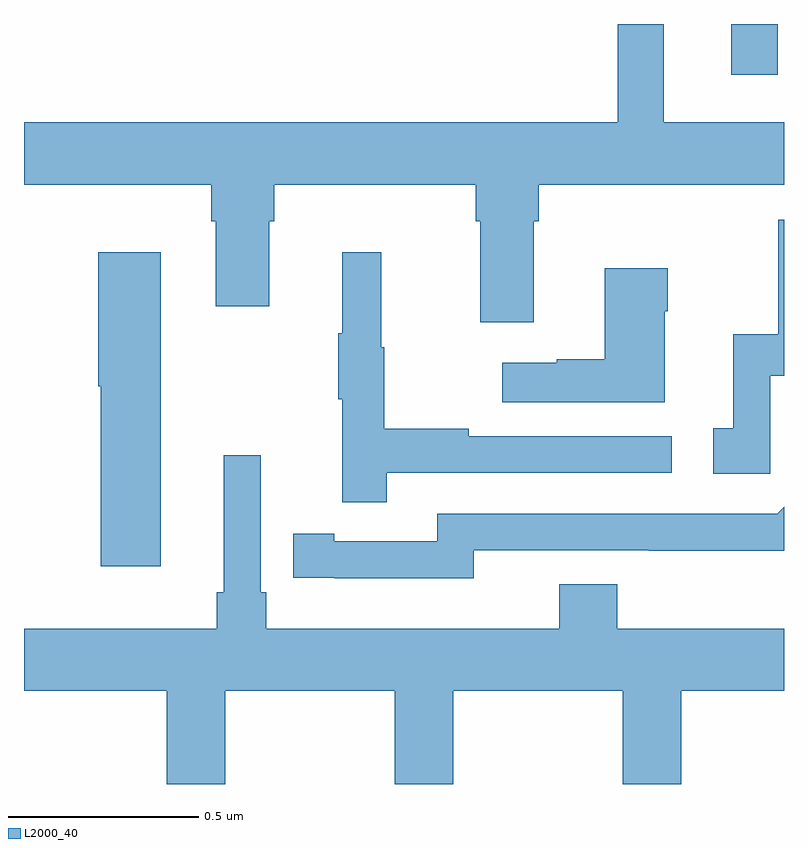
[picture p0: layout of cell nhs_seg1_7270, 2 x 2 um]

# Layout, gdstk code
import gdstk
lib = gdstk.Library(unit=1e-6, precision=1e-09)
def R(c, l, rs):  # rectangles x0, y0, x1, y1
    for r in rs: c.add(gdstk.rectangle(r[:2], r[2:], *l))
def P(c, l, *ps):  # polygons
    for p in ps: c.add(gdstk.Polygon(p, *l))
L2000_40 = (2000, 40)

nhs_seg1_7270 = lib.new_cell('nhs_seg1_7270')
R(nhs_seg1_7270, L2000_40, [(203.861,508.065,203.983,508.199)])
P(nhs_seg1_7270, L2000_40, [(202,507.776),(202.493,507.776),(202.493,507.68),(202.505,507.68),(202.505,507.456),(202.645,507.456),(202.645,507.68),(202.658,507.68),(202.658,507.776),(203.189,507.776),(203.189,507.68),(203.201,507.68),(203.201,507.414),(203.341,507.414),(203.341,507.68),(203.354,507.68),(203.354,507.776),(204,507.776),(204,507.94),(203.683,507.94),(203.683,508.199),(203.562,508.199),(203.562,507.94),(202,507.94)],
  [(203.964,507.273),(204,507.273),(204,507.684),(203.985,507.684),(203.985,507.382),(203.867,507.382),(203.867,507.135),(203.814,507.135),(203.814,507.015),(203.964,507.015)],
  [(202.955,507.018),(203.704,507.018),(203.704,507.114),(203.171,507.114),(203.171,507.134),(202.948,507.134),(202.948,507.348),(202.94,507.348),(202.94,507.598),(202.838,507.598),(202.838,507.385),(202.827,507.385),(202.827,507.211),(202.838,507.211),(202.838,506.94),(202.955,506.94)],
  [(202.36,507.598),(202.196,507.598),(202.196,507.246),(202.202,507.246),(202.202,506.772),(202.36,506.772)],
  [(203.686,507.443),(203.694,507.443),(203.694,507.556),(203.528,507.556),(203.528,507.317),(203.402,507.317),(203.402,507.307),(203.259,507.307),(203.259,507.203),(203.686,507.203)],
  [(202.53,506.444),(202.975,506.444),(202.975,506.199),(203.13,506.199),(203.13,506.444),(203.575,506.444),(203.575,506.199),(203.73,506.199),(203.73,506.444),(204,506.444),(204,506.608),(203.561,506.608),(203.561,506.725),(203.408,506.725),(203.408,506.608),(202.637,506.608),(202.637,506.704),(202.623,506.704),(202.623,507.064),(202.526,507.064),(202.526,506.704),(202.507,506.704),(202.507,506.608),(202,506.608),(202,506.444),(202.375,506.444),(202.375,506.199),(202.53,506.199)],
  [(203.184,506.814),(203.644,506.814),(203.644,506.813),(204,506.813),(204,506.928),(203.982,506.91),(203.088,506.91),(203.088,506.838),(202.816,506.838),(202.816,506.858),(202.708,506.858),(202.708,506.742),(202.816,506.742),(202.816,506.741),(203.184,506.741)])

lib.write_gds('nhs_seg1_7270.gds')
